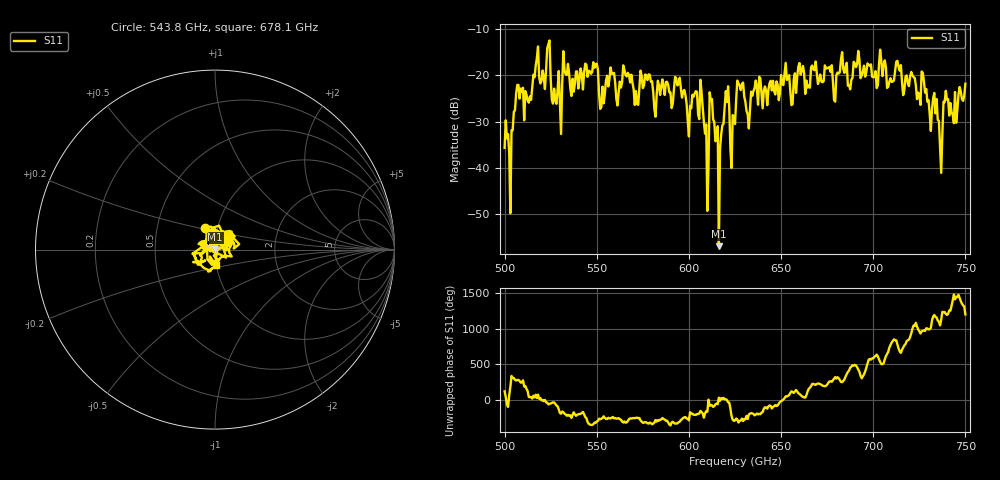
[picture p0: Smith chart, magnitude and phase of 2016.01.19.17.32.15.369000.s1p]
!Created with skrf (http://scikit-rf.org).
# GHz S RI R 50.0
!freq ReS11 ImS11
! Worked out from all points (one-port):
!   401 points, 500 GHz to 750 GHz, reference 50 ohm
!   lowest |S11| = -56.8 dB at 616.2 GHz (marker M1), VSWR 1.00, Z = 50.1 + j0.0682 ohm
!   |S11| at or under -10 dB: start of sweep to end of sweep
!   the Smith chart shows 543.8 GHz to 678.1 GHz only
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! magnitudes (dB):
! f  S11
! 500 GHz  -35.7
! 503.1 GHz  -49.7
! 506.2 GHz  -24.0
! 513.8 GHz  -24.5
! 516.9 GHz  -17.9
! 531.2 GHz  -21.9
! 549.4 GHz  -17.6
! 552.5 GHz  -26.9
! 562.5 GHz  -21.4
! 593.8 GHz  -22.2
! 600 GHz  -33.2
! 606.9 GHz  -23.7
! 609.4 GHz  -30.6
! 612.5 GHz  -25.1
! 616.2 GHz  -56.8
! 620 GHz  -23.4
! 623.8 GHz  -28.6
! 625 GHz  -30.5
! 627.5 GHz  -22.2
! 656.2 GHz  -26.2
! 660.6 GHz  -19.9
! 687.5 GHz  -23.0
! 691.2 GHz  -17.6
! 718.8 GHz  -21.7
! 727.5 GHz  -21.3
! 736.2 GHz  -35.7
! 739.4 GHz  -23.4
! 750 GHz  -21.8
